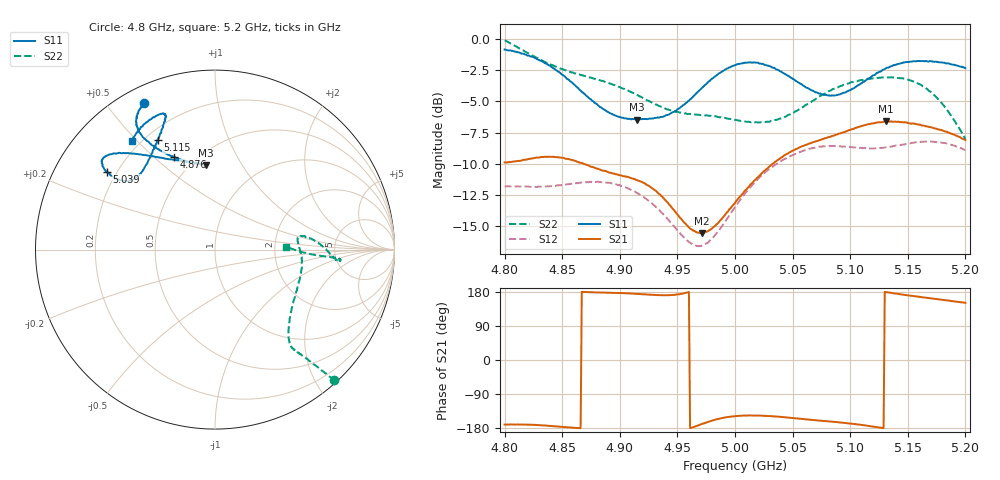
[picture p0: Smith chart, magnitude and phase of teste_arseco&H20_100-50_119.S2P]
! Network Analyzer HP8722D
! Hewlett-Packard
! Data name: Linha & Wilkinson
! Saver's name: Rodrigo Anjos
! Comments: Teste da utilização de aquisição
! continua pelo VNA HP8722D
! Time and date: 6/5/2025 13:33
!  Frequency  S11  S21  S12  S22
# HZ  S  MA R 50
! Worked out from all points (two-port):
!   401 points, 4.8 GHz to 5.2 GHz, reference 50 ohm
!   highest |S21| = -6.59 dB at 5.131 GHz (marker M1); lowest = -15.6 dB at 4.971 GHz (marker M2)
!   |S21| within 3 dB of the highest: 4.822 GHz to 4.853 GHz (30.4 MHz wide, 0.628 % of centre); 5.039 GHz to end of sweep
!   lowest |S11| = -6.5 dB at 4.915 GHz (marker M3), VSWR 2.81, Z = 29.1 + j35.5 ohm
!   |S11| at or under -10 dB: nowhere
!   |S22| runs from -8.0 to -0.1 dB; largest |S21 - S12| = 0.83
!   S11 on the Smith chart (normalised r, x): 4.8 GHz: 0.07, +0.63; 4.876 GHz: 0.38, +0.58; 5.039 GHz: 0.16, +0.31; 5.115 GHz: 0.25, +0.58; 5.2 GHz: 0.17, +0.48
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4.8e9  0.9062 115.7  0.3203 -170.5  0.257 -86.1  0.9849 -47.5
4.833e9  0.8096 122.3  0.3369 -172.4  0.2561 -77.3  0.816 -49.6
4.849e9  0.7249 122.2  0.3345 -176.3  0.2598 -71.9  0.759 -50.6
4.867e9  0.6129 117.9  0.3187 179.8  0.2664 -67.4  0.7154 -51.6
4.876e9  0.5648 113.9  0.3072 178.7  0.2668 -66.4  0.6967 -52.0
4.897e9  0.4916 102.8  0.287 176.9  0.2617 -66.4  0.6488 -50.6
4.915e9  0.4748 96.3  0.2718 174.4  0.2418 -68.3  0.5966 -46.5
4.934e9  0.4838 99.1  0.2398 171.1  0.2075 -69.5  0.539 -37.6
4.959e9  0.5615 116.3  0.1781 178.4  0.1553 -59.1  0.4997 -21.1
4.971e9  0.6337 124.6  0.1668 -169.5  0.1485 -45.5  0.4954 -14.0
4.982e9  0.7041 130.5  0.1777 -158.4  0.1625 -33.2  0.4901 -8.3
5e9  0.7846 137.4  0.2209 -148.4  0.2126 -21.5  0.4737 -0.3
5.018e9  0.8023 141.8  0.2738 -146.5  0.2695 -18.4  0.464 5.7
5.039e9  0.7419 144.2  0.3317 -150.0  0.3223 -18.5  0.4796 9.0
5.067e9  0.6214 142.1  0.3849 -158.0  0.3654 -20.6  0.5624 4.6
5.088e9  0.595 133.1  0.414 -163.8  0.3725 -23.8  0.6379 -1.7
5.115e9  0.6904 117.6  0.4544 -173.5  0.3645 -26.8  0.6916 -5.3
5.131e9  0.762 111.9  0.4681 179.1  0.3681 -28.3  0.7007 -5.0
5.134e9  0.7707 111.1  0.4657 177.9  0.3697 -28.7  0.7009 -4.7
5.162e9  0.8146 112.9  0.4502 165.9  0.3876 -35.4  0.6519 -3.9
5.181e9  0.8029 119.4  0.4285 158.5  0.3838 -41.3  0.5424 -2.9
5.2e9  0.7633 127.3  0.3933 150.8  0.3588 -46.3  0.3976 2.3
